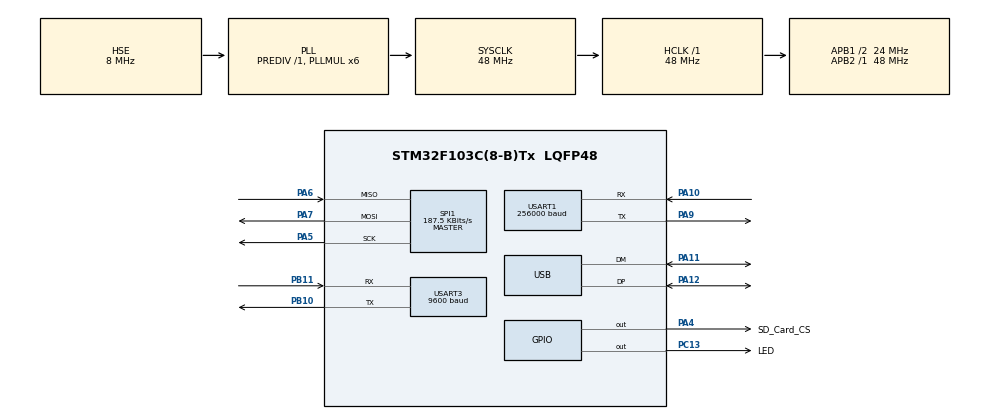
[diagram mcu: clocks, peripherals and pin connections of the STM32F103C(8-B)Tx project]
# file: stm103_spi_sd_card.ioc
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Mcu.Family=STM32F1
Mcu.Name=STM32F103C(8-B)Tx
Mcu.Package=LQFP48
NVIC.PriorityGroup=NVIC_PRIORITYGROUP_4
NVIC.USART1_IRQn=true\:0\:0\:false\:false\:true\:true
NVIC.USART3_IRQn=true\:0\:0\:false\:false\:true\:true
NVIC.USB_LP_CAN1_RX0_IRQn=true\:0\:0\:false\:false\:true\:false
PA10.Mode=Asynchronous
PA10.Signal=USART1_RX
PA11.Mode=Device
PA11.Signal=USB_DM
PA12.Mode=Device
PA12.Signal=USB_DP
PA13.Mode=Serial_Wire
PA13.Signal=SYS_JTMS-SWDIO
PA14.Mode=Serial_Wire
PA14.Signal=SYS_JTCK-SWCLK
PA4.GPIO_Label=SD_Card_CS
PA4.Signal=GPIO_Output
PA5.Mode=Full_Duplex_Master
PA5.Signal=SPI1_SCK
PA6.Mode=Full_Duplex_Master
PA6.Signal=SPI1_MISO
PA7.Mode=Full_Duplex_Master
PA7.Signal=SPI1_MOSI
PA9.Mode=Asynchronous
PA9.Signal=USART1_TX
PB10.Mode=Asynchronous
PB10.Signal=USART3_TX
PB11.Mode=Asynchronous
PB11.Signal=USART3_RX
PC13-TAMPER-RTC.GPIO_Label=LED
PC13-TAMPER-RTC.Signal=GPIO_Output
PD0-OSC_IN.Mode=HSE-External-Oscillator
PD0-OSC_IN.Signal=RCC_OSC_IN
PD1-OSC_OUT.Mode=HSE-External-Oscillator
PD1-OSC_OUT.Signal=RCC_OSC_OUT
ProjectManager.HeapSize=0x2710
ProjectManager.StackSize=0x200
ProjectManager.TargetToolchain=MDK-ARM V5
RCC.ADCPresc=RCC_ADCPCLK2_DIV6
RCC.AHBFreq_Value=48000000
RCC.APB1CLKDivider=RCC_HCLK_DIV2
RCC.APB1Freq_Value=24000000
RCC.APB1TimFreq_Value=48000000
RCC.APB2Freq_Value=48000000
RCC.APB2TimFreq_Value=48000000
RCC.HCLKFreq_Value=48000000
RCC.PLLMUL=RCC_PLL_MUL6
RCC.PLLSourceVirtual=RCC_PLLSOURCE_HSE
RCC.SYSCLKFreq_VALUE=48000000
RCC.SYSCLKSource=RCC_SYSCLKSOURCE_PLLCLK
RCC.USBFreq_Value=48000000
SPI1.BaudRatePrescaler=SPI_BAUDRATEPRESCALER_256
SPI1.CalculateBaudRate=187.5 KBits/s
SPI1.Direction=SPI_DIRECTION_2LINES
SPI1.Mode=SPI_MODE_MASTER
SPI1.VirtualType=VM_MASTER
USART1.BaudRate=256000
USART1.VirtualMode=VM_ASYNC
USART3.BaudRate=9600
USART3.VirtualMode=VM_ASYNC
USB.ep0_mps=DEP0CTL_MPS_64
USB_DEVICE.CLASS_NAME_FS=HID
USB_DEVICE.VirtualMode=Hid
USB_DEVICE.VirtualModeFS=Hid_FS
VP_RTC_VS_RTC_Activate.Mode=RTC_Enabled
VP_RTC_VS_RTC_Calendar.Mode=RTC_Calendar
VP_USB_DEVICE_VS_USB_DEVICE_HID_FS.Mode=HID_FS
board=stm103_spi_sd_card

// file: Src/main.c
/**
  ******************************************************************************
  * @file           : main.c
  * @brief          : Main program body
  ******************************************************************************
  * This notice applies to any and all portions of this file
  * that are not between comment pairs USER CODE BEGIN and
  * USER CODE END. Other portions of this file, whether
  * inserted by the user or by software development tools
  * are owned by their respective copyright owners.
  *
  * Copyright (c) 2018 STMicroelectronics International N.V.
  * All rights reserved.
  *
  * Redistribution and use in source and binary forms, with or without
  * modification, are permitted, provided that the following conditions are met:
  *
  * 1. Redistribution of source code must retain the above copyright notice,
  *    this list of conditions and the following disclaimer.
  * 2. Redistributions in binary form must reproduce the above copyright notice,
  *    this list of conditions and the following disclaimer in the documentation
  *    and/or other materials provided with the distribution.
  * 3. Neither the name of STMicroelectronics nor the names of other
  *    contributors to this software may be used to endorse or promote products
  *    derived from this software without specific written permission.
  * 4. This software, including modifications and/or derivative works of this
  *    software, must execute solely and exclusively on microcontroller or
  *    microprocessor devices manufactured by or for STMicroelectronics.
  * 5. Redistribution and use of this software other than as permitted under
  *    this license is void and will automatically terminate your rights under
  *    this license.
  *
  * THIS SOFTWARE IS PROVIDED BY STMICROELECTRONICS AND CONTRIBUTORS "AS IS"
  * AND ANY EXPRESS, IMPLIED OR STATUTORY WARRANTIES, INCLUDING, BUT NOT
  * LIMITED TO, THE IMPLIED WARRANTIES OF MERCHANTABILITY, FITNESS FOR A
  * PARTICULAR PURPOSE AND NON-INFRINGEMENT OF THIRD PARTY INTELLECTUAL PROPERTY
  * RIGHTS ARE DISCLAIMED TO THE FULLEST EXTENT PERMITTED BY LAW. IN NO EVENT
  * SHALL STMICROELECTRONICS OR CONTRIBUTORS BE LIABLE FOR ANY DIRECT, INDIRECT,
  * INCIDENTAL, SPECIAL, EXEMPLARY, OR CONSEQUENTIAL DAMAGES (INCLUDING, BUT NOT
  * LIMITED TO, PROCUREMENT OF SUBSTITUTE GOODS OR SERVICES; LOSS OF USE, DATA,
  * OR PROFITS; OR BUSINESS INTERRUPTION) HOWEVER CAUSED AND ON ANY THEORY OF
  * LIABILITY, WHETHER IN CONTRACT, STRICT LIABILITY, OR TORT (INCLUDING
  * NEGLIGENCE OR OTHERWISE) ARISING IN ANY WAY OUT OF THE USE OF THIS SOFTWARE,
  * EVEN IF ADVISED OF THE POSSIBILITY OF SUCH DAMAGE.
  *
  ******************************************************************************
  */
#include "main.h"
#include "stm32f1xx_hal.h"
#include "rtc.h"
#include "spi.h"
#include "usart.h"
#include "usb_device.h"
#include "gpio.h"

/* USER CODE BEGIN Includes */
#include "ff.h"
#include <string.h>
#include "USB_HID_KEYS.h"
#include "usbd_hid.h"
/* USER CODE END Includes */

/* USER CODE BEGIN PV */
/* Private variables ---------------------------------------------------------*/
FATFS FatFs;
uint8_t fm_inited = 0;
char *txt;
char file_buff[100];

uint8_t rValue;
uint8_t rBuffer[30];
uint8_t rIndex=0;
uint8_t rFlag=0;
uint8_t buff[8]={0};
/* USER CODE END PV */

void SystemClock_Config(void);

/* USER CODE BEGIN PFP */
/* Private function prototypes -----------------------------------------------*/
void create_files_list();
void USB_Write(uint16_t NUMBER);
/* USER CODE END PFP */

/* USER CODE BEGIN 0 */
uint8_t getScancode(uint8_t Num)
{uint8_t Co;
	switch (Num)
	{
		case 0:	Co=KEY_0;break;
		case 1:	Co=KEY_1;break;
		case 2:	Co=KEY_2;break;
		case 3:	Co=KEY_3;break;
		case 4:	Co=KEY_4;break;
		case 5:	Co=KEY_5;break;
		case 6:	Co=KEY_6;break;
		case 7:	Co=KEY_7;break;
		case 8:	Co=KEY_8;break;
		case 9:	Co=KEY_9;break;
	}
	return Co;

}
void USB_Write(uint16_t NUMBER)
{
	uint8_t i=0,Ngan,Tram,Chuc,Donvi;
	Ngan=NUMBER/1000;
	NUMBER=NUMBER%1000;
	Tram=NUMBER/100;
	NUMBER=NUMBER%100;
	Chuc=NUMBER/10;
	Donvi=NUMBER%10;

	buff[0]=1;
	buff[1]=0;
	buff[2]=0;
	buff[3]=getScancode(Ngan);
	buff[4]=getScancode(Tram);
	buff[5]=getScancode(Chuc);
	buff[6]=getScancode(Donvi);
	buff[7]=KEY_ENTER;
	USBD_HID_SendReport(&hUsbDeviceFS,buff,8);
	HAL_Delay(100);
	buff[3]=0;
	buff[4]=0;
	buff[5]=0;
	buff[6]=0;
	buff[7]=0;
	USBD_HID_SendReport(&hUsbDeviceFS,buff,8);
}

void fm_init()
{
	if (f_mount(&FatFs, "", 1) == FR_OK) {
		HAL_GPIO_WritePin(LED_GPIO_Port,LED_Pin,GPIO_PIN_SET);
		fm_inited = 1;
		printf("SDcard has been inited\n\r");
	}
	else
	{
		fm_inited = 0;
		return;
	}
	//create_files_list();
	//f_mount(0, "", 1);
}

uint32_t count_files(char *path)
{
	uint32_t count = 0;
	DIR dir;
	FILINFO fno;
	FRESULT res;
	static char lfn[_MAX_LFN + 1];   /* Buffer to store the LFN */
	fno.lfname = lfn;
  fno.lfsize = sizeof(lfn);

	res = f_opendir(&dir, path);                       /* Open the directory */
	if (res == FR_OK) {
		for (;;) {
			res = f_readdir(&dir, &fno);                   /* Read a directory item */
      if (res != FR_OK || fno.fname[0] == 0) break;  /* Break on error or end of dir */
      if (fno.fname[0] == '.') continue;             /* Ignore dot entry */
      if (!(fno.fattrib & AM_DIR)) {                 /* It is a file. */
				count ++;
      }
    }
    f_closedir(&dir);
	}
	return count;
}

void create_files_list()
{
	printf("cre lst\n");
	char path[] = "/";
	uint32_t count = count_files(path);
	printf("count: %d\n\r", count);
	if(count == 0)
		return;

	uint32_t ci = 0;

	FRESULT res;
  FILINFO fno;
  DIR dir;
  int i;
  char *fn;   /* This function assumes non-Unicode configuration */
  static char lfn[_MAX_LFN + 1];   /* Buffer to store the LFN */
  fno.lfname = lfn;
  fno.lfsize = sizeof(lfn);
	printf("cre lst\n\r");
	res = f_opendir(&dir, path);											 /* Open the directory */
	if (res == FR_OK) {
		i = strlen(path);
		for (;;) {
			res = f_readdir(&dir, &fno);									 /* Read a directory item */
			if (res != FR_OK || fno.fname[0] == 0) break;	/* Break on error or end of dir */
			if (fno.fname[0] == '.') continue;						 /* Ignore dot entry */
			fn = *fno.lfname ? fno.lfname : fno.fname;
			if (fno.fattrib & AM_DIR) {										/* It is a directory */
				//sprintf(&path[i], "/%s", fn);
				//path[i] = 0;
				printf("fldr\n\r");
				if (res != FR_OK) break;
			} else {																			 /* It is a file. */
				printf("kek \n\r");
				ci++;
			}
		}
		f_closedir(&dir);
	}
}

/* USER CODE END 0 */

int main(void)
{

  /* MCU Configuration----------------------------------------------------------*/

  /* Reset of all peripherals, Initializes the Flash interface and the Systick. */
  HAL_Init();

  /* Configure the system clock */
  SystemClock_Config();

  /* Initialize all configured peripherals */
  MX_GPIO_Init();
  MX_SPI1_Init();
  MX_USART1_UART_Init();
  MX_USART3_UART_Init();
  MX_USB_DEVICE_Init();
  MX_RTC_Init();
  /* USER CODE BEGIN 2 */
	HAL_UART_Receive_IT(&huart3,&rValue,1);
//		fm_init();
//		FIL fil; //file object
//		char line[100];
//		UINT NW;
//		FRESULT fr;
//		FILINFO fno;
//
//		if(f_stat("httu.csv",&fno)==FR_OK) printf("Co file nay\n\r");
//		if(f_stat("httu.csv",&fno)==FR_NO_FILE) {printf("Khong co file nay\n\r"); break;}
//			HAL_Delay(500);
		printf("Test case\n\r");

  /* USER CODE END 2 */

  /* Infinite loop */
  /* USER CODE BEGIN WHILE */
  while (1)
  {
		float fValue=0;
		char *j;
		uint16_t TL;
  /* USER CODE END WHILE */

  /* USER CODE BEGIN 3 */
		if(rFlag==1) {
			fValue=strtof((char *)&rBuffer[8],NULL);
			j=strstr((char *)rBuffer,"k");

			if(j!=0)	TL=fValue*1000;
			else	TL=fValue;
			printf("Trong luong=%d g \r\n",TL);
			rFlag=0;

			USB_Write(TL);
		}

  }
  /* USER CODE END 3 */

}

void SystemClock_Config(void)
{

  RCC_OscInitTypeDef RCC_OscInitStruct;
  RCC_ClkInitTypeDef RCC_ClkInitStruct;
  RCC_PeriphCLKInitTypeDef PeriphClkInit;

    /**Initializes the CPU, AHB and APB busses clocks
    */
  RCC_OscInitStruct.OscillatorType = RCC_OSCILLATORTYPE_LSI|RCC_OSCILLATORTYPE_HSE;
  RCC_OscInitStruct.HSEState = RCC_HSE_ON;
  RCC_OscInitStruct.HSEPredivValue = RCC_HSE_PREDIV_DIV1;
  RCC_OscInitStruct.HSIState = RCC_HSI_ON;
  RCC_OscInitStruct.LSIState = RCC_LSI_ON;
  RCC_OscInitStruct.PLL.PLLState = RCC_PLL_ON;
  RCC_OscInitStruct.PLL.PLLSource = RCC_PLLSOURCE_HSE;
  RCC_OscInitStruct.PLL.PLLMUL = RCC_PLL_MUL6;
  if (HAL_RCC_OscConfig(&RCC_OscInitStruct) != HAL_OK)
  {
    _Error_Handler(__FILE__, __LINE__);
  }

    /**Initializes the CPU, AHB and APB busses clocks
    */
  RCC_ClkInitStruct.ClockType = RCC_CLOCKTYPE_HCLK|RCC_CLOCKTYPE_SYSCLK
                              |RCC_CLOCKTYPE_PCLK1|RCC_CLOCKTYPE_PCLK2;
  RCC_ClkInitStruct.SYSCLKSource = RCC_SYSCLKSOURCE_PLLCLK;
  RCC_ClkInitStruct.AHBCLKDivider = RCC_SYSCLK_DIV1;
  RCC_ClkInitStruct.APB1CLKDivider = RCC_HCLK_DIV2;
  RCC_ClkInitStruct.APB2CLKDivider = RCC_HCLK_DIV1;

  if (HAL_RCC_ClockConfig(&RCC_ClkInitStruct, FLASH_LATENCY_1) != HAL_OK)
  {
    _Error_Handler(__FILE__, __LINE__);
  }

  PeriphClkInit.PeriphClockSelection = RCC_PERIPHCLK_RTC|RCC_PERIPHCLK_USB;
  PeriphClkInit.RTCClockSelection = RCC_RTCCLKSOURCE_LSI;
  PeriphClkInit.UsbClockSelection = RCC_USBCLKSOURCE_PLL;
  if (HAL_RCCEx_PeriphCLKConfig(&PeriphClkInit) != HAL_OK)
  {
    _Error_Handler(__FILE__, __LINE__);
  }

    /**Configure the Systick interrupt time
    */
  HAL_SYSTICK_Config(HAL_RCC_GetHCLKFreq()/1000);

    /**Configure the Systick
    */
  HAL_SYSTICK_CLKSourceConfig(SYSTICK_CLKSOURCE_HCLK);

  /* SysTick_IRQn interrupt configuration */
  HAL_NVIC_SetPriority(SysTick_IRQn, 0, 0);
}

/* USER CODE BEGIN 4 */

void HAL_UART_RxCpltCallback(UART_HandleTypeDef *huart)
{
	if(huart->Instance==huart3.Instance)
	{
		if(rValue!=13) //not enter
		{
			rBuffer[rIndex++]=rValue;
		}
		else
		{
			rIndex=NULL;
			rFlag=1;
		}
		HAL_UART_Receive_IT(&huart3,&rValue,1);
	}
}
/* USER CODE END 4 */

void _Error_Handler(char *file, int line)
{
  while(1)
  {
  }
}

/************************ (C) COPYRIGHT STMicroelectronics *****END OF FILE****/
